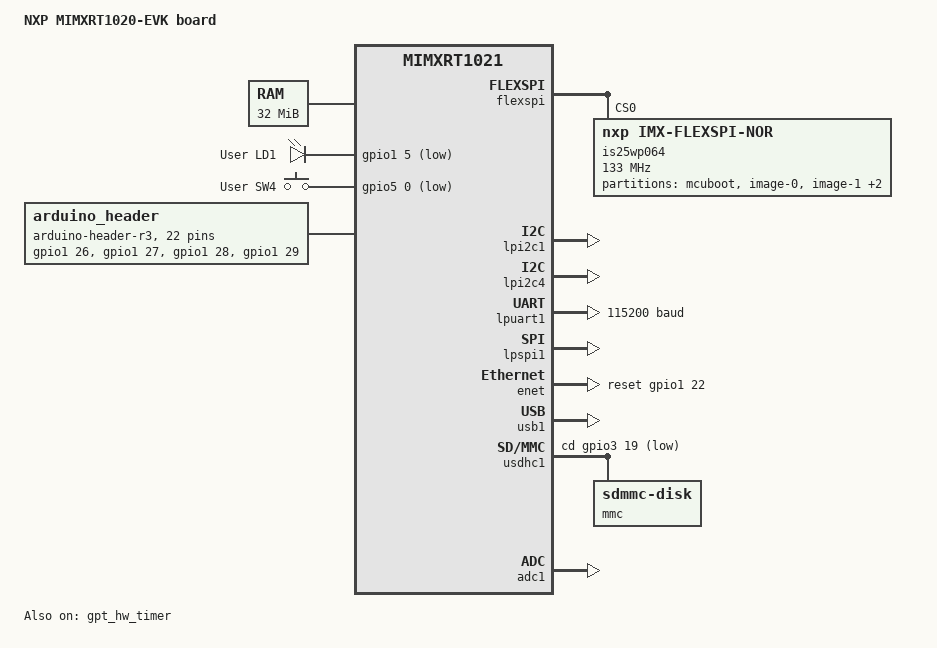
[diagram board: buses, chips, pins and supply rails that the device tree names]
/*
 * Copyright (c) 2018, NXP
 *
 * SPDX-License-Identifier: Apache-2.0
 */

/dts-v1/;

#include <nxp/nxp_rt1020.dtsi>
#include "mimxrt1020_evk-pinctrl.dtsi"

/ {
	model = "NXP MIMXRT1020-EVK board";
	compatible = "nxp,mimxrt1021";

	aliases {
		led0 = &green_led;
		sw0 = &user_button;
		sdhc0 = &usdhc1;
	};

	chosen {
		zephyr,flash-controller = &is25wp064;
		zephyr,flash = &is25wp064;
		zephyr,code-partition = &slot0_partition;
		zephyr,sram = &sdram0;
		zephyr,itcm = &itcm;
		zephyr,dtcm = &dtcm;
		zephyr,console = &lpuart1;
		zephyr,shell-uart = &lpuart1;
	};

	sdram0: memory@80000000 {
		/* ISSI IS42S16160J-6TLI */
		device_type = "memory";
		reg = <0x80000000 DT_SIZE_M(32)>;
	};

	leds {
		compatible = "gpio-leds";
		green_led: led-1 {
			gpios = <&gpio1 5 GPIO_ACTIVE_LOW>;
			label = "User LD1";
		};
	};

	gpio_keys {
		compatible = "gpio-keys";
		user_button: button-1 {
			label = "User SW4";
			gpios = <&gpio5 0 (GPIO_PULL_UP | GPIO_ACTIVE_LOW)>;
		};
	};

	arduino_header: connector {
		compatible = "arduino-header-r3";
		#gpio-cells = <2>;
		gpio-map-mask = <0xffffffff 0xffffffc0>;
		gpio-map-pass-thru = <0 0x3f>;
		gpio-map = <0 0 &gpio1 26 0>,	/* A0 */
			   <1 0 &gpio1 27 0>,	/* A1 */
			   <2 0 &gpio1 28 0>,	/* A2 */
			   <3 0 &gpio1 29 0>,	/* A3 */
			   <4 0 &gpio1 31 0>,	/* A4 */
			   <5 0 &gpio1 30 0>,	/* A5 */
			   <6 0 &gpio1 25 0>,	/* D0 */
			   <7 0 &gpio1 24 0>,	/* D1 */
			   <8 0 &gpio1 9 0>,	/* D2 */
			   <9 0 &gpio1 7 0>,	/* D3 */
			   <10 0 &gpio1 5 0>,	/* D4 */
			   <11 0 &gpio1 6 0>,	/* D5 */
			   <12 0 &gpio1 14 0>,	/* D6 */
			   <13 0 &gpio1 22 0>,	/* D7 */
			   <14 0 &gpio1 23 0>,	/* D8 */
			   <15 0 &gpio1 15 0>,	/* D9 */
			   <16 0 &gpio1 11 0>,	/* D10 */
			   <17 0 &gpio1 12 0>,	/* D11 */
			   <18 0 &gpio1 13 0>,	/* D12 */
			   <19 0 &gpio1 10 0>,	/* D13 */
			   <20 0 &gpio3 23 0>,	/* D14 */
			   <21 0 &gpio3 22 0>;	/* D15 */
	};
};

arduino_serial: &lpuart2 {
	pinctrl-0 = <&pinmux_lpuart2>;
	pinctrl-1 = <&pinmux_lpuart2_sleep>;
	pinctrl-names = "default", "sleep";
};

&flexspi {
	status = "okay";
	reg = <0x402a8000 0x4000>, <0x60000000 DT_SIZE_M(8)>;
	is25wp064: is25wp064@0 {
		compatible = "nxp,imx-flexspi-nor";
		size = <67108864>;
		reg = <0>;
		spi-max-frequency = <133000000>;
		status = "okay";
		jedec-id = [9d 70 17];
		erase-block-size = <4096>;
		write-block-size = <1>;

		partitions {
			compatible = "fixed-partitions";
			#address-cells = <1>;
			#size-cells = <1>;

			boot_partition: partition@0 {
				label = "mcuboot";
				reg = <0x00000000 DT_SIZE_K(64)>;
			};
			slot0_partition: partition@10000 {
				label = "image-0";
				reg = <0x00010000 DT_SIZE_M(3)>;
			};
			slot1_partition: partition@310000 {
				label = "image-1";
				reg = <0x00310000 DT_SIZE_M(3)>;
			};
			scratch_partition: partition@610000 {
				label = "image-scratch";
				reg = <0x00610000 DT_SIZE_K(128)>;
			};
			storage_partition: partition@630000 {
				label = "storage";
				reg = <0x00630000 DT_SIZE_K(1856)>;
			};
		};
	};
};

&lpi2c1 {
	status = "okay";
	pinctrl-0 = <&pinmux_lpi2c1>;
	pinctrl-names = "default";
};

&lpi2c4 {
	status = "okay";
	pinctrl-0 = <&pinmux_lpi2c4>;
	pinctrl-names = "default";
};

&lpuart1 {
	status = "okay";
	current-speed = <115200>;
	pinctrl-0 = <&pinmux_lpuart1>;
	pinctrl-1 = <&pinmux_lpuart1_sleep>;
	pinctrl-names = "default", "sleep";
};

&lpspi1 {
	status = "okay";
	/* DMA channels 0 and 1, muxed to LPSPI1 RX and TX */
	dmas = <&edma0 0 13>, <&edma0 1 14>;
	dma-names = "rx", "tx";
	pinctrl-0 = <&pinmux_lpspi1>;
	pinctrl-names = "default";
};

&enet {
	status = "okay";
	pinctrl-0 = <&pinmux_enet>;
	pinctrl-names = "default";
	int-gpios = <&gpio1 4 GPIO_ACTIVE_HIGH>;
	reset-gpios = <&gpio1 22 GPIO_ACTIVE_HIGH>;
	ptp {
		status = "okay";
		pinctrl-0 = <&pinmux_ptp>;
		pinctrl-names = "default";
	};
};

zephyr_udc0: &usb1 {
	status = "okay";
};

&usdhc1 {
	status = "okay";
	no-1-8-v;
	pinctrl-0 = <&pinmux_usdhc1>;
	pinctrl-1 = <&pinmux_usdhc1_slow>;
	pinctrl-2 = <&pinmux_usdhc1_med>;
	pinctrl-3 = <&pinmux_usdhc1_fast>;
	pinctrl-names = "default", "slow", "med", "fast";
	cd-gpios = <&gpio3 19 GPIO_ACTIVE_LOW>;
	pwr-gpios = <&gpio3 24 GPIO_ACTIVE_HIGH>;
	mmc {
		compatible = "zephyr,sdmmc-disk";
		status = "okay";
	};
};

&adc1 {
	status = "okay";
	pinctrl-0 = <&pinmux_adc1>;
	pinctrl-names = "default";
};

&sai3 {
	pinctrl-0 = <&pinmux_sai3>;
	pinctrl-names = "default";
};

&edma0 {
	status = "okay";
};

/* Enable GPT for use as a hardware timer. This disables Cortex Systick.
 * to use systick, change this node from "gpt_hw_timer" to "systick"
 */
&gpt_hw_timer {
	status = "okay";
};
